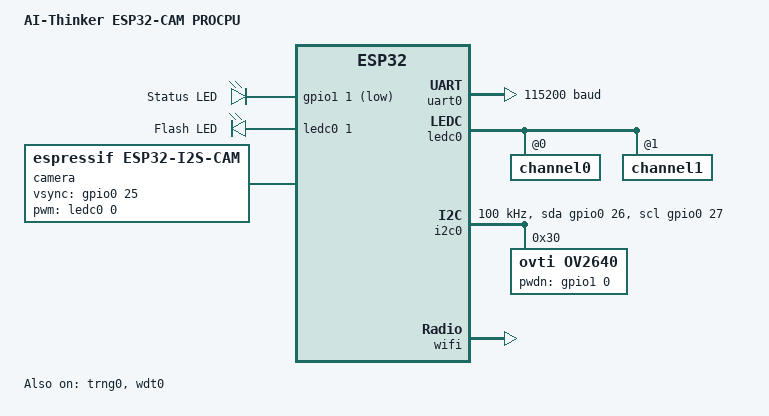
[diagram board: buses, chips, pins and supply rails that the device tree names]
/*
 * Copyright (c) 2026 Richard Osterloh <richard.osterloh@gmail.com>
 * SPDX-License-Identifier: Apache-2.0
 */
/dts-v1/;

#include <espressif/esp32/esp32.dtsi>
#include "ai_thinker_esp32_cam-pinctrl.dtsi"
#include <espressif/partitions_0x1000_default_4M.dtsi>

/ {
	model = "AI-Thinker ESP32-CAM PROCPU";
	compatible = "espressif,esp32";

	aliases {
		uart-0 = &uart0;
		i2c-0 = &i2c0;
		led0 = &status_led;
		watchdog0 = &wdt0;
	};

	chosen {
		zephyr,sram = &sram1;
		zephyr,console = &uart0;
		zephyr,shell-uart = &uart0;
		zephyr,flash = &flash0;
		zephyr,code-partition = &slot0_partition;
		zephyr,camera = &camera;
	};

	leds {
		compatible = "gpio-leds";

		status_led: led_0 {
			gpios = <&gpio1 1 GPIO_ACTIVE_LOW>; /* GPIO33, red */
			label = "Status LED";
		};
	};

	pwmleds {
		compatible = "pwm-leds";

		flash_led: flash_led {
			pwms = <&ledc0 1 PWM_HZ(2000) PWM_POLARITY_NORMAL>;
			label = "Flash LED";
		};
	};

	camera: camera {
		compatible = "espressif,esp32-i2s-cam";
		i2s = <&i2s0>;
		pinctrl-0 = <&i2s0_cam_default>;
		pinctrl-names = "default";
		vsync-gpios = <&gpio0 25 GPIO_ACTIVE_HIGH>;
		pwms = <&ledc0 0 PWM_NSEC(50) PWM_POLARITY_NORMAL>;
		pwm-names = "xclk";
		source = <&ov2640>;

		port {
			cam_ep_in: endpoint {
				remote-endpoint-label = "ov2640_ep_out";
			};
		};
	};
};

&flash0 {
	reg = <0x0 DT_SIZE_M(4)>;
};

&psram0 {
	size = <DT_SIZE_M(4)>;
};

&uart0 {
	current-speed = <115200>;
	pinctrl-0 = <&uart0_default>;
	pinctrl-names = "default";
	status = "okay";
};

&gpio0 {
	status = "okay";
};

&gpio1 {
	status = "okay";
};

&ledc0 {
	pinctrl-0 = <&ledc0_default>;
	pinctrl-names = "default";
	#address-cells = <1>;
	#size-cells = <0>;
	status = "okay";

	channel0@0 {
		reg = <0x0>;
		timer = <0>;
	};

	channel1@1 {
		reg = <0x1>;
		timer = <1>;
	};
};

&i2c0 {
	clock-frequency = <I2C_BITRATE_STANDARD>;
	sda-gpios = <&gpio0 26 GPIO_OPEN_DRAIN>;
	scl-gpios = <&gpio0 27 GPIO_OPEN_DRAIN>;
	pinctrl-0 = <&i2c0_default>;
	pinctrl-names = "default";
	status = "okay";

	ov2640: ov2640@30 {
		compatible = "ovti,ov2640";
		reg = <0x30>;
		pwdn-gpios = <&gpio1 0 GPIO_ACTIVE_HIGH>; /* GPIO32 */

		port {
			ov2640_ep_out: endpoint {
				remote-endpoint-label = "cam_ep_in";
			};
		};
	};
};

&trng0 {
	status = "okay";
};

&wdt0 {
	status = "okay";
};

&wifi {
	status = "okay";
};
